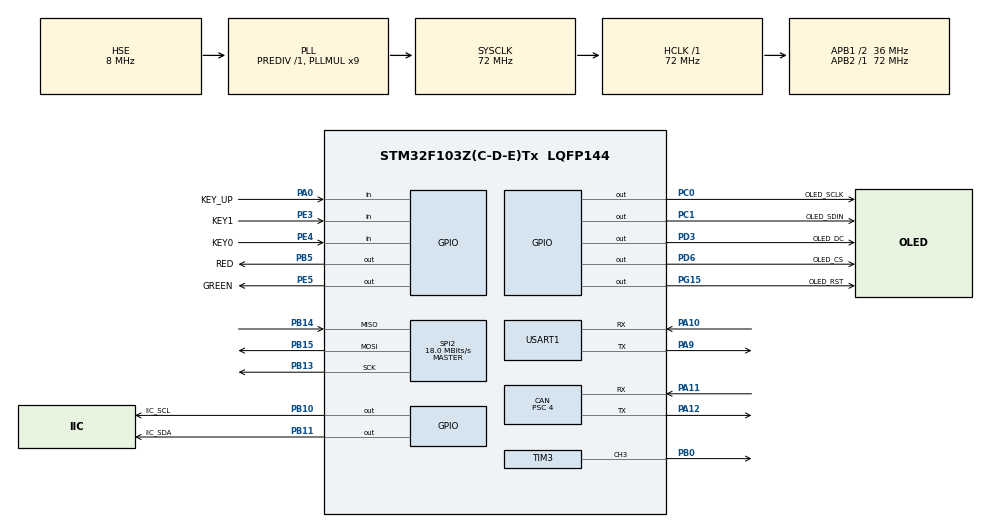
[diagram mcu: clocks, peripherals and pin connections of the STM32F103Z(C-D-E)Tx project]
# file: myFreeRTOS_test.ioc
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CAN.BS1=CAN_BS1_9TQ
CAN.BS2=CAN_BS2_8TQ
CAN.CalculateBaudRate=500000
CAN.CalculateTimeBit=2000
CAN.CalculateTimeQuantum=111.11111111111111
CAN.Mode=CAN_MODE_LOOPBACK
CAN.Prescaler=4
Dma.Request0=USART1_RX
Dma.Request1=TIM3_CH3
Dma.TIM3_CH3.1.Direction=DMA_MEMORY_TO_PERIPH
Dma.TIM3_CH3.1.Instance=DMA1_Channel2
Dma.TIM3_CH3.1.MemDataAlignment=DMA_MDATAALIGN_HALFWORD
Dma.TIM3_CH3.1.MemInc=DMA_MINC_ENABLE
Dma.TIM3_CH3.1.Mode=DMA_NORMAL
Dma.TIM3_CH3.1.PeriphDataAlignment=DMA_PDATAALIGN_HALFWORD
Dma.TIM3_CH3.1.PeriphInc=DMA_PINC_DISABLE
Dma.TIM3_CH3.1.Priority=DMA_PRIORITY_HIGH
Dma.USART1_RX.0.Direction=DMA_PERIPH_TO_MEMORY
Dma.USART1_RX.0.Instance=DMA1_Channel5
Dma.USART1_RX.0.MemDataAlignment=DMA_MDATAALIGN_BYTE
Dma.USART1_RX.0.MemInc=DMA_MINC_ENABLE
Dma.USART1_RX.0.Mode=DMA_CIRCULAR
Dma.USART1_RX.0.PeriphDataAlignment=DMA_PDATAALIGN_BYTE
Dma.USART1_RX.0.PeriphInc=DMA_PINC_DISABLE
Dma.USART1_RX.0.Priority=DMA_PRIORITY_LOW
FREERTOS.Tasks01=initTask,24,512,StartInitTask,Default,NULL,Dynamic,NULL,NULL
FREERTOS.configTOTAL_HEAP_SIZE=8192
IWDG.Prescaler=IWDG_PRESCALER_64
IWDG.Reload=1874
Mcu.Family=STM32F1
Mcu.Name=STM32F103Z(C-D-E)Tx
Mcu.Package=LQFP144
NVIC.DMA1_Channel2_IRQn=true\:5\:0\:false\:false\:true\:true\:false\:true\:true
NVIC.DMA1_Channel5_IRQn=true\:5\:0\:false\:false\:true\:true\:false\:true\:true
NVIC.PriorityGroup=NVIC_PRIORITYGROUP_4
NVIC.TIM4_IRQn=true\:15\:0\:false\:false\:true\:false\:false\:true\:true
NVIC.TimeBase=TIM4_IRQn
NVIC.TimeBaseIP=TIM4
NVIC.USART1_IRQn=true\:5\:0\:false\:false\:true\:true\:true\:true\:true
NVIC.USB_LP_CAN1_RX0_IRQn=true\:5\:0\:false\:false\:true\:true\:true\:true\:true
OSC_IN.Mode=HSE-External-Oscillator
OSC_IN.Signal=RCC_OSC_IN
OSC_OUT.Mode=HSE-External-Oscillator
OSC_OUT.Signal=RCC_OSC_OUT
PA0-WKUP.GPIO_Label=KEY_UP
PA0-WKUP.GPIO_PuPd=GPIO_PULLDOWN
PA0-WKUP.Signal=GPIO_Input
PA10.Mode=Asynchronous
PA10.Signal=USART1_RX
PA11.Mode=CAN_Activate
PA11.Signal=CAN_RX
PA12.Mode=CAN_Activate
PA12.Signal=CAN_TX
PA13.Mode=Serial_Wire
PA13.Signal=SYS_JTMS-SWDIO
PA14.Mode=Serial_Wire
PA14.Signal=SYS_JTCK-SWCLK
PA9.Mode=Asynchronous
PA9.Signal=USART1_TX
PB0.GPIO_Speed=GPIO_SPEED_FREQ_HIGH
PB0.Signal=S_TIM3_CH3
PB10.GPIO_Label=IIC_SCL
PB10.GPIO_ModeDefaultOutputPP=GPIO_MODE_OUTPUT_OD
PB10.GPIO_PuPd=GPIO_NOPULL
PB10.GPIO_Speed=GPIO_SPEED_FREQ_MEDIUM
PB10.PinState=GPIO_PIN_SET
PB10.Signal=GPIO_Output
PB11.GPIO_Label=IIC_SDA
PB11.GPIO_ModeDefaultOutputPP=GPIO_MODE_OUTPUT_OD
PB11.GPIO_PuPd=GPIO_NOPULL
PB11.GPIO_Speed=GPIO_SPEED_FREQ_MEDIUM
PB11.PinState=GPIO_PIN_SET
PB11.Signal=GPIO_Output
PB13.Mode=Full_Duplex_Master
PB13.Signal=SPI2_SCK
PB14.Mode=Full_Duplex_Master
PB14.Signal=SPI2_MISO
PB15.Mode=Full_Duplex_Master
PB15.Signal=SPI2_MOSI
PB5.GPIO_Label=RED
PB5.GPIO_PuPd=GPIO_NOPULL
PB5.GPIO_Speed=GPIO_SPEED_FREQ_LOW
PB5.PinState=GPIO_PIN_SET
PB5.Signal=GPIO_Output
PC0.GPIO_Label=OLED_SCLK
PC0.GPIO_PuPd=GPIO_PULLUP
PC0.GPIO_Speed=GPIO_SPEED_FREQ_HIGH
PC0.Signal=GPIO_Output
PC1.GPIO_Label=OLED_SDIN
PC1.GPIO_PuPd=GPIO_PULLUP
PC1.GPIO_Speed=GPIO_SPEED_FREQ_HIGH
PC1.Signal=GPIO_Output
PD3.GPIO_Label=OLED_DC
PD3.GPIO_PuPd=GPIO_PULLUP
PD3.GPIO_Speed=GPIO_SPEED_FREQ_HIGH
PD3.PinState=GPIO_PIN_SET
PD3.Signal=GPIO_Output
PD6.GPIO_Label=OLED_CS
PD6.GPIO_PuPd=GPIO_PULLUP
PD6.GPIO_Speed=GPIO_SPEED_FREQ_HIGH
PD6.PinState=GPIO_PIN_SET
PD6.Signal=GPIO_Output
PE3.GPIO_Label=KEY1
PE3.GPIO_PuPd=GPIO_PULLUP
PE3.Signal=GPIO_Input
PE4.GPIO_Label=KEY0
PE4.GPIO_PuPd=GPIO_PULLUP
PE4.Signal=GPIO_Input
PE5.GPIO_Label=GREEN
PE5.PinState=GPIO_PIN_SET
PE5.Signal=GPIO_Output
PG15.GPIO_Label=OLED_RST
PG15.GPIO_PuPd=GPIO_PULLUP
PG15.GPIO_Speed=GPIO_SPEED_FREQ_HIGH
PG15.PinState=GPIO_PIN_SET
PG15.Signal=GPIO_Output
ProjectManager.HeapSize=0x200
ProjectManager.StackSize=0x400
ProjectManager.TargetToolchain=MDK-ARM V5.32
RCC.AHBFreq_Value=72000000
RCC.APB1CLKDivider=RCC_HCLK_DIV2
RCC.APB1Freq_Value=36000000
RCC.APB1TimFreq_Value=72000000
RCC.APB2Freq_Value=72000000
RCC.APB2TimFreq_Value=72000000
RCC.HCLKFreq_Value=72000000
RCC.PLLMUL=RCC_PLL_MUL9
RCC.PLLSourceVirtual=RCC_PLLSOURCE_HSE
RCC.SYSCLKFreq_VALUE=72000000
RCC.SYSCLKSource=RCC_SYSCLKSOURCE_PLLCLK
RCC.USBFreq_Value=72000000
SH.S_TIM3_CH3.0=TIM3_CH3,PWM Generation3 CH3
SPI2.BaudRatePrescaler=SPI_BAUDRATEPRESCALER_2
SPI2.CLKPhase=SPI_PHASE_2EDGE
SPI2.CLKPolarity=SPI_POLARITY_HIGH
SPI2.CalculateBaudRate=18.0 MBits/s
SPI2.Direction=SPI_DIRECTION_2LINES
SPI2.Mode=SPI_MODE_MASTER
SPI2.VirtualType=VM_MASTER
TIM3.Channel-PWM\ Generation3\ CH3=TIM_CHANNEL_3
TIM3.Period=89
USART1.VirtualMode=VM_ASYNC
VP_FREERTOS_VS_CMSIS_V2.Mode=CMSIS_V2
VP_IWDG_VS_IWDG.Mode=IWDG_Activate
VP_SYS_VS_tim4.Mode=TIM4
VP_TIM3_VS_ClockSourceINT.Mode=Internal
board=custom

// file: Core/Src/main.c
/* USER CODE BEGIN Header */
/**
  ******************************************************************************
  * @file           : main.c
  * @brief          : Main program body
  ******************************************************************************
  * @attention
  *
  * Copyright (c) 2026 STMicroelectronics.
  * All rights reserved.
  *
  * This software is licensed under terms that can be found in the LICENSE file
  * in the root directory of this software component.
  * If no LICENSE file comes with this software, it is provided AS-IS.
  *
  ******************************************************************************
  */
/* USER CODE END Header */
#include "main.h"
#include "cmsis_os.h"
#include "can.h"
#include "dma.h"
#include "iwdg.h"
#include "spi.h"
#include "tim.h"
#include "usart.h"
#include "gpio.h"

/* USER CODE BEGIN Includes */
#include "led.h"
#include "soft_iic.h"
/* USER CODE END Includes */

void SystemClock_Config(void);
void MX_FREERTOS_Init(void);

int main(void)
{

  /* MCU Configuration--------------------------------------------------------*/

  /* Reset of all peripherals, Initializes the Flash interface and the Systick. */
  HAL_Init();

  /* Configure the system clock */
  SystemClock_Config();

  /* Initialize all configured peripherals */
  MX_GPIO_Init();
  MX_DMA_Init();
  MX_USART1_UART_Init();
  MX_SPI2_Init();
  MX_TIM3_Init();
  MX_CAN_Init();

  /* Init scheduler */
  osKernelInitialize();  /* Call init function for freertos objects (in cmsis_os2.c) */
  MX_FREERTOS_Init();

  /* Start scheduler */
  osKernelStart();

  /* We should never get here as control is now taken by the scheduler */

  /* Infinite loop */
  while (1)
  {

    /* USER CODE BEGIN 3 */
	  // osKernelStart正常启动后是不会退出的，这里是添加异常代码，红灯闪烁代表任务异常了
    HAL_Delay(500);
    HAL_GPIO_TogglePin(RED_GPIO_Port, RED_Pin);
  /* USER CODE END 3 */
  }
}

void SystemClock_Config(void)
{
  RCC_OscInitTypeDef RCC_OscInitStruct = {0};
  RCC_ClkInitTypeDef RCC_ClkInitStruct = {0};

  /** Initializes the RCC Oscillators according to the specified parameters
  * in the RCC_OscInitTypeDef structure.
  */
  RCC_OscInitStruct.OscillatorType = RCC_OSCILLATORTYPE_LSI|RCC_OSCILLATORTYPE_HSE;
  RCC_OscInitStruct.HSEState = RCC_HSE_ON;
  RCC_OscInitStruct.HSEPredivValue = RCC_HSE_PREDIV_DIV1;
  RCC_OscInitStruct.HSIState = RCC_HSI_ON;
  RCC_OscInitStruct.LSIState = RCC_LSI_ON;
  RCC_OscInitStruct.PLL.PLLState = RCC_PLL_ON;
  RCC_OscInitStruct.PLL.PLLSource = RCC_PLLSOURCE_HSE;
  RCC_OscInitStruct.PLL.PLLMUL = RCC_PLL_MUL9;
  if (HAL_RCC_OscConfig(&RCC_OscInitStruct) != HAL_OK)
  {
    Error_Handler();
  }

  /** Initializes the CPU, AHB and APB buses clocks
  */
  RCC_ClkInitStruct.ClockType = RCC_CLOCKTYPE_HCLK|RCC_CLOCKTYPE_SYSCLK
                              |RCC_CLOCKTYPE_PCLK1|RCC_CLOCKTYPE_PCLK2;
  RCC_ClkInitStruct.SYSCLKSource = RCC_SYSCLKSOURCE_PLLCLK;
  RCC_ClkInitStruct.AHBCLKDivider = RCC_SYSCLK_DIV1;
  RCC_ClkInitStruct.APB1CLKDivider = RCC_HCLK_DIV2;
  RCC_ClkInitStruct.APB2CLKDivider = RCC_HCLK_DIV1;

  if (HAL_RCC_ClockConfig(&RCC_ClkInitStruct, FLASH_LATENCY_2) != HAL_OK)
  {
    Error_Handler();
  }
}

void HAL_TIM_PeriodElapsedCallback(TIM_HandleTypeDef *htim)
{
  if (htim->Instance == TIM4)
  {
    HAL_IncTick();
  }
}

void Error_Handler(void)
{
  __disable_irq();
  while (1)
  {
  }
}

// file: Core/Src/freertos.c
/* USER CODE BEGIN Header */
/**
  ******************************************************************************
  * File Name          : freertos.c
  * Description        : Code for freertos applications
  ******************************************************************************
  * @attention
  *
  * Copyright (c) 2026 STMicroelectronics.
  * All rights reserved.
  *
  * This software is licensed under terms that can be found in the LICENSE file
  * in the root directory of this software component.
  * If no LICENSE file comes with this software, it is provided AS-IS.
  *
  ******************************************************************************
  */
/* USER CODE END Header */

#include "FreeRTOS.h"
#include "task.h"
#include "main.h"
#include "cmsis_os.h"

/* USER CODE BEGIN Includes */
#include "system_init.h"
#include "led_board.h"
#include "key_task.h"
#include "watchdog_task.h"
#include "oled_task.h"
#include "mpu_task.h"
#include "flash_task.h"
#include "ws2812_task.h"
#include <stdio.h>
/* USER CODE END Includes */

/* USER CODE BEGIN Variables */
// 事件标志组，用于init任务初始化成功后，通知其他任务开启
osEventFlagsId_t SystemReadyFlagsHandle;

// 按键消息队列
osMessageQueueId_t KeyQueueHandle;
const osMessageQueueAttr_t KeyQueue_attributes = {
  .name = "KeyQueue"
};

// 存储消息队列
osMessageQueueId_t FlashCmdQueueHandle;
const osMessageQueueAttr_t FlashCmdQueue_attributes = {
  .name = "FlashCmdQueue"
};

// Meta数据操作锁
osMutexId_t MetaDataMutexHandle;
const osMutexAttr_t MetaDataMutex_attributes = {
  .name = "MetaDataMutex"
};

// SPI操作锁
osMutexId_t SPIMutexHandle;
const osMutexAttr_t SPIMutex_attributes = {
  .name = "SPIMutex"
};

// 板载Led任务
osThreadId_t ledBoardTaskHandle;
const osThreadAttr_t ledBoardTask_attributes = {
  .name = "ledBoardTask",
  .stack_size = 256 * 4,
  .priority = (osPriority_t) osPriorityNormal,
};

// 按键扫描任务
osThreadId_t keyScanTaskHandle;
const osThreadAttr_t keyScanTask_attributes = {
  .name = "keyScanTask",
  .stack_size = 256 * 4,
  .priority = (osPriority_t) osPriorityNormal,
};

// 看门狗任务
osThreadId_t watchDogTaskHandle;
const osThreadAttr_t watchDogTask_attributes = {
  .name = "watchDogTask",
  .stack_size = 256 * 4,
  .priority = (osPriority_t) osPriorityNormal,
};

// OLED屏幕显示任务
osThreadId_t oledTaskHandle;
const osThreadAttr_t oledTask_attributes = {
  .name = "oledTask",
  .stack_size = 256 * 4,
  .priority = (osPriority_t) osPriorityNormal,
};

// MPU任务
osThreadId_t mpuTaskHandle;
const osThreadAttr_t mpuTask_attributes = {
  .name = "mpuTask",
  .stack_size = 512 * 4,
  .priority = (osPriority_t) osPriorityNormal,
};

// FLASH存储任务
osThreadId_t flashTaskHandle;
const osThreadAttr_t flashTask_attributes = {
  .name = "flashTask",
  .stack_size = 256 * 4,
  .priority = (osPriority_t) osPriorityNormal,
};

// WS2812显示任务
osThreadId_t ws2812TaskHandle;
const osThreadAttr_t ws2812Task_attributes = {
  .name = "ws2812Task",
  .stack_size = 256 * 4,
  .priority = (osPriority_t) osPriorityNormal,
};
/* USER CODE END Variables */
/* Definitions for initTask */
osThreadId_t initTaskHandle;
const osThreadAttr_t initTask_attributes = {
  .name = "initTask",
  .stack_size = 512 * 4,
  .priority = (osPriority_t) osPriorityNormal,
};

/* USER CODE BEGIN FunctionPrototypes */
void StartLedBoardTask(void *argument);
void StartKeyScanTask(void *argument);
void StartWatchDogTask(void *argument);
void StartOLEDTask(void *argument);
void StartMPUTask(void *argument);
void StartFlashTask(void *argument);
void StartWS2812Task(void *argument);
/* USER CODE END FunctionPrototypes */

void StartInitTask(void *argument);

void MX_FREERTOS_Init(void); /* (MISRA C 2004 rule 8.1) */

void MX_FREERTOS_Init(void) {

  /* USER CODE BEGIN RTOS_MUTEX */
  MetaDataMutexHandle = osMutexNew(&MetaDataMutex_attributes);
  SPIMutexHandle = osMutexNew(&SPIMutex_attributes);
  /* USER CODE END RTOS_MUTEX */

  /* USER CODE BEGIN RTOS_QUEUES */
  KeyQueueHandle = osMessageQueueNew (5, sizeof(uint16_t), &KeyQueue_attributes);
  FlashCmdQueueHandle = osMessageQueueNew (10, sizeof(FlashCmdType_t), &FlashCmdQueue_attributes);
  /* USER CODE END RTOS_QUEUES */

  /* Create the thread(s) */
  /* creation of initTask */
  initTaskHandle = osThreadNew(StartInitTask, NULL, &initTask_attributes);

  /* USER CODE BEGIN RTOS_THREADS */
  ledBoardTaskHandle = osThreadNew(StartLedBoardTask, NULL, &ledBoardTask_attributes);
  keyScanTaskHandle = osThreadNew(StartKeyScanTask, NULL, &keyScanTask_attributes);
  watchDogTaskHandle = osThreadNew(StartWatchDogTask, NULL, &watchDogTask_attributes);
  oledTaskHandle = osThreadNew(StartOLEDTask, NULL, &oledTask_attributes);
  mpuTaskHandle = osThreadNew(StartMPUTask, NULL, &mpuTask_attributes);
  flashTaskHandle = osThreadNew(StartFlashTask, NULL, &flashTask_attributes);
  ws2812TaskHandle = osThreadNew(StartWS2812Task, NULL, &ws2812Task_attributes);

  // 堆余量打印
  printf("[RTOS] free heap after all creation = %u bytes\r\n", (unsigned)xPortGetFreeHeapSize());

  // 任务句柄打印，判断任务是否创建成功
  printf("[RTOS] handles: Key=%p OLED=%p MPU=%p Flash=%p WS2812=%p\r\n",
         (void*)keyScanTaskHandle, (void*)oledTaskHandle, (void*)mpuTaskHandle,
         (void*)flashTaskHandle, (void*)ws2812TaskHandle);
  /* USER CODE END RTOS_THREADS */

  /* USER CODE BEGIN RTOS_EVENTS */
  SystemReadyFlagsHandle = osEventFlagsNew(NULL);
  /* USER CODE END RTOS_EVENTS */

}

void StartInitTask(void *argument)
{
  /* USER CODE BEGIN StartInitTask */
  /* Infinite loop */
  Init_Task_Entry(argument);
  /* USER CODE END StartInitTask */
}

/* USER CODE BEGIN Application */
void StartLedBoardTask(void *argument)
{
	LED_Board_Task_Entry(argument);
}

void StartKeyScanTask(void *argument)
{
	Key_Scan_Task_Entry(argument);
}

void StartWatchDogTask(void *argument)
{
	Watchdog_Task_Entry(argument);
}

void StartOLEDTask(void *argument)
{
	OLED_Task_Entry(argument);
}

void StartMPUTask(void *argument)
{
  MPU_Task_Entry(argument);
}

void StartFlashTask(void *argument)
{
  Flash_Task_Entry(argument);
}

void StartWS2812Task(void *argument)
{
  WS2812_Task_Entry(argument);
}
/* USER CODE END Application */
